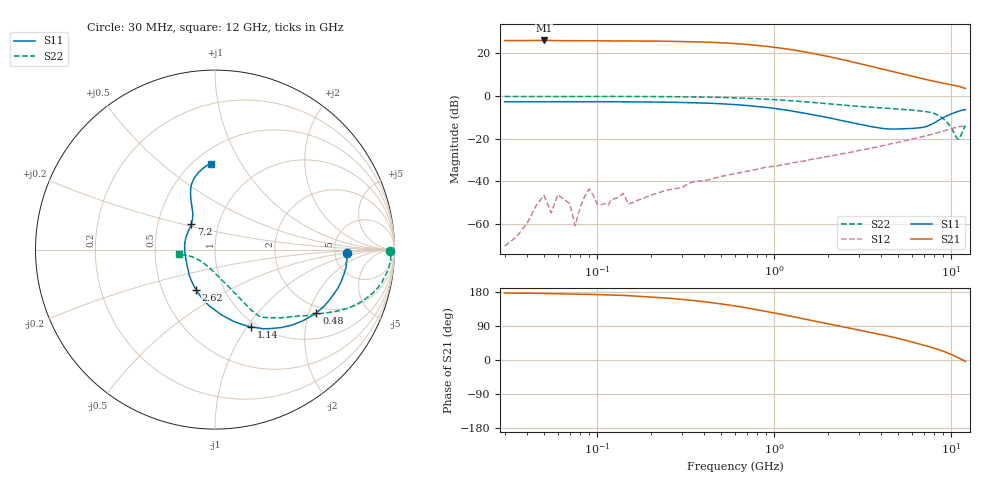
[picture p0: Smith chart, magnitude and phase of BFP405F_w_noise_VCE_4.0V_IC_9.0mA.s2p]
! Infineon Technologies  Discrete & RF Semiconductors
! BFP405F
! VCE =  4.0 V,  IC =  9.0 mA
! Common Emitter S-Parameters:  Nov 2015
# GHz  S  MA  R  50
!  f  S11  S21  S12  S22
! GHz  MAG  ANG  MAG  ANG  MAG  ANG  MAG  ANG
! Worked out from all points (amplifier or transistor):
!   239 points, 30 MHz to 12 GHz, reference 50 ohm
!   highest |S21| = 26.1 dB at 50 MHz (marker M1)
!   |S21| within 3 dB of that: start of sweep to 956.1 MHz
!   unconditionally stable (mu >= 1): start of sweep to 36.77 MHz; 74.83 MHz to 75.5 MHz; 2.471 GHz to end of sweep
!   at 300 MHz: K = 0.31, MSG = 34.3 dB, |S12| = -43.0 dB
!   at 1.88 GHz: K = 0.84, MSG = 23.9 dB, |S12| = -28.8 dB
!   at 12 GHz: K = 1.40, MAG = 5.0 dB, |S12| = -14.0 dB
!   lowest NFmin = 1.60 dB at 450 MHz
!   S11 on the Smith chart (normalised r, x): 30 MHz: 6.54, -0.59; 480 MHz: 1.78, -2.24; 1.14 GHz: 0.94, -1.05; 2.62 GHz: 0.74, -0.35; 7.2 GHz: 0.74, +0.22; 12 GHz: 0.60, +0.75
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0.03  0.7367 -1.6  20.06 176.6  0.0003 173.2  0.977 -0.6
0.05  0.7291 -3.4  20.17 175.4  0.0047 0.5  0.9795 -1.6
0.055  0.7321 -3.4  20.06 175.2  0.0018 -70.2  0.9773 -1.3
0.06  0.7351 -3.4  19.95 174.9  0.0049 -135.1  0.9751 -1.0
0.07  0.7388 -4.6  19.93 173.9  0.003 -94.2  0.9774 -1.4
0.075  0.737 -5.0  19.87 173.7  0.0009 -41.1  0.9787 -1.7
0.085  0.7343 -5.8  19.84 173.3  0.0044 71.3  0.9803 -2.3
0.145  0.733 -10.0  19.73 170.2  0.004 72.2  0.9797 -4.0
0.24  0.7194 -16.6  19.35 163.7  0.006 81.8  0.9704 -6.8
0.34  0.6985 -23.1  18.82 157.5  0.0094 76.4  0.9553 -9.4
0.48  0.665 -31.9  17.93 149.2  0.0124 73.6  0.9329 -13.0
0.6  0.6303 -39.0  17.02 142.5  0.0151 74.4  0.9086 -15.7
0.9  0.5413 -54.4  14.72 128.2  0.0214 69.5  0.8453 -21.2
1.14  0.475 -64.9  12.96 119.0  0.0248 68.8  0.7953 -24.6
1.64  0.3668 -83.9  10.07 104.0  0.0329 66.2  0.7097 -29.9
2.08  0.3029 -98.8  8.27 94.1  0.0391 65.8  0.6515 -34.0
2.62  0.2462 -115.2  6.66 84.7  0.0469 64.1  0.5982 -38.1
3.3  0.205 -134.1  5.312 75.1  0.0568 62.7  0.5551 -42.6
4.5  0.1696 -165.8  3.89 62.0  0.0746 59.5  0.5112 -48.1
7.2  0.1926 133.1  2.444 37.2  0.1166 50.1  0.4307 -57.2
11  0.4426 101.5  1.696 4.9  0.1891 30.1  0.0979 -134.7
12  0.478 92.9  1.506 -3.4  0.2001 24.6  0.203 -172.3
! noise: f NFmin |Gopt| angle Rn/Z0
0.45  1.6  0.23  5  0.33
0.9  1.61  0.21  11  0.35
1.5  1.67  0.2  16  0.26
1.9  1.7  0.18  22  0.29
2.4  1.84  0.17  30  0.34
3  1.92  0.15  43  0.31
3.5  1.97  0.13  50  0.3
4.5  2.13  0.1  51  0.2
5.5  2.32  0.05  51  0.05
